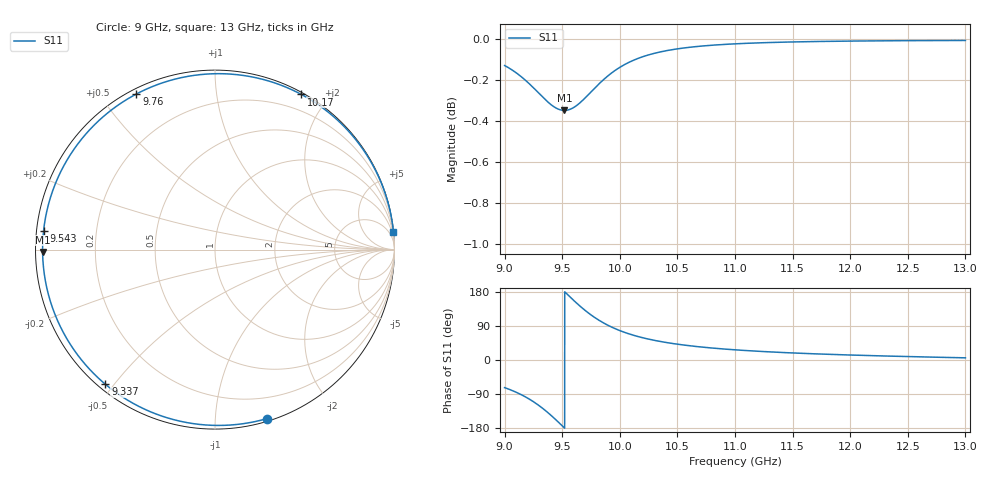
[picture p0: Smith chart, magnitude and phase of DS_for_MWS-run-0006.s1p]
! TOUCHSTONE file generated by CST DESIGN STUDIO
! Date and time: Tue Feb  4 17:46:19 2025
! Project name: C:\Work\MatlabApps\UnitCellOptimizationMatlab\CST\unitcell.cst
! Tree item: Tasks\Sweep1\SPara1\S-Parameters
! Header version: 2024
! Port assignment regex: !\s*Touchstone port\s*([0-9]+)\s*=\s*(CST MWS port|CST DES external port|CST DES block port)\s*(.+)\s* \(\"(.*)\"\)(\s*mode\s*([0-9]+))?.*
! Touchstone port assignment:
! Touchstone port 1 = CST DES external port 1 ("")
# GHz S MA R 50
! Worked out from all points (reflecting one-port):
!   4001 points, 9 GHz to 13 GHz, reference 50 ohm
!   lowest |S11| = -0.3 dB at 9.519 GHz (marker M1), VSWR 49.86, Z = 1 - j0.328 ohm
!   phase of S11 starts at -73 deg and turns -281 deg over the sweep
!   S11 on the Smith chart (normalised r, x): 9 GHz: 0.02, -1.35; 9.337 GHz: 0.02, -0.48; 9.543 GHz: 0.02, +0.06; 9.76 GHz: 0.02, +0.62; 10.17 GHz: 0.02, +1.70; 13 GHz: 0, +20
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9  0.9851 -72.9
9.092  0.9815 -83.9
9.197  0.9761 -100.1
9.27  0.9717 -114.1
9.337  0.9675 -129.2
9.381  0.9649 -140.2
9.427  0.9627 -152.7
9.464  0.9614 -163.2
9.5  0.9608 -173.7
9.519  0.9607 -179.2
9.543  0.9608 173.7
9.597  0.9621 158.0
9.657  0.9649 141.5
9.708  0.968 128.7
9.76  0.9713 116.8
9.81  0.9745 106.6
9.865  0.9777 96.8
10  0.9841 77.6
10.082  0.987 68.7
10.171  0.9893 60.9
10.321  0.9922 50.6
10.5  0.9943 41.7
10.722  0.996 33.8
11  0.9971 26.8
11.5  0.9982 18.6
12  0.9987 13.1
12.5  0.9989 9.1
13  0.999 5.7
